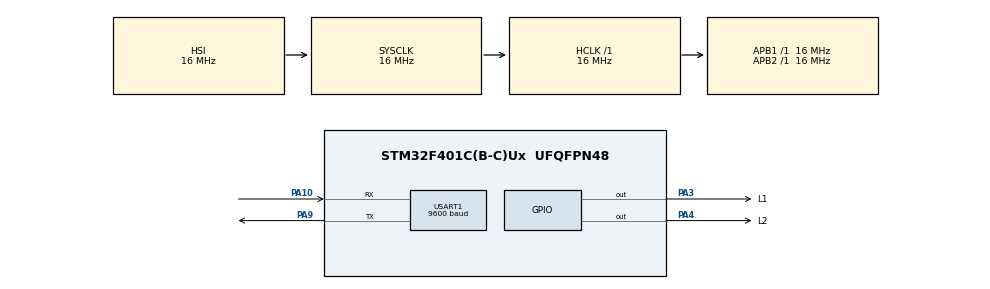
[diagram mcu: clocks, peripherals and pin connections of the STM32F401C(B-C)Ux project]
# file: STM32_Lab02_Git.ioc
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Mcu.Family=STM32F4
Mcu.Name=STM32F401C(B-C)Ux
Mcu.Package=UFQFPN48
NVIC.PriorityGroup=NVIC_PRIORITYGROUP_4
NVIC.USART1_IRQn=true\:0\:0\:false\:true\:true\:1\:true\:true\:true
PA10.Mode=Asynchronous
PA10.Signal=USART1_RX
PA13.Mode=Trace_Asynchronous_SW
PA13.Signal=SYS_JTMS-SWDIO
PA14.Mode=Trace_Asynchronous_SW
PA14.Signal=SYS_JTCK-SWCLK
PA3.GPIO_Label=L1
PA3.Signal=GPIO_Output
PA4.GPIO_Label=L2
PA4.Signal=GPIO_Output
PA9.Mode=Asynchronous
PA9.Signal=USART1_TX
PB3.Mode=Trace_Asynchronous_SW
PB3.Signal=SYS_JTDO-SWO
ProjectManager.HeapSize=0x200
ProjectManager.StackSize=0x400
ProjectManager.TargetToolchain=STM32CubeIDE
RCC.AHBFreq_Value=16000000
RCC.APB1Freq_Value=16000000
RCC.APB2Freq_Value=16000000
RCC.CortexFreq_Value=16000000
RCC.HSE_VALUE=25000000
RCC.HSI_VALUE=16000000
RCC.LSE_VALUE=32768
RCC.SYSCLKFreq_VALUE=16000000
RCC.VCOOutputFreq_Value=192000000
USART1.BaudRate=9600
USART1.VirtualMode=VM_ASYNC
board=custom

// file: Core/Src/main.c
/* USER CODE BEGIN Header */
/**
  ******************************************************************************
  * @file           : main.c
  * @brief          : Main program body
  ******************************************************************************
  * @attention
  *
  * Copyright (c) 2023 STMicroelectronics.
  * All rights reserved.
  *
  * This software is licensed under terms that can be found in the LICENSE file
  * in the root directory of this software component.
  * If no LICENSE file comes with this software, it is provided AS-IS.
  *
  ******************************************************************************
  */
/* USER CODE END Header */
#include "main.h"

/* USER CODE BEGIN Includes */
#include "ringbuffer.h"
/* USER CODE END Includes */

UART_HandleTypeDef huart1;

/* USER CODE BEGIN PV */
uint8_t rx[1] = {'\0'};
uint8_t tx[1] = {'\0'};
uint8_t flag = 0;
RingBuffer ringbuf;

uint8_t BufferRx[255];
uint8_t BufferTx[255];

volatile uint16_t lenRx;
volatile uint16_t lenTx;
/* USER CODE END PV */

void SystemClock_Config(void);
static void MX_GPIO_Init(void);
static void MX_USART1_UART_Init(void);
static void MX_NVIC_Init(void);

int main(void)
{

  /* MCU Configuration--------------------------------------------------------*/

  /* Reset of all peripherals, Initializes the Flash interface and the Systick. */
  HAL_Init();

  /* Configure the system clock */
  SystemClock_Config();

  /* Initialize all configured peripherals */
  MX_GPIO_Init();
  MX_USART1_UART_Init();

  /* Initialize interrupts */
  MX_NVIC_Init();

  /* Infinite loop */
  /* USER CODE BEGIN WHILE */
  HAL_GPIO_TogglePin(L2_GPIO_Port, L2_Pin);
  HAL_UART_Transmit_IT(&huart1, (uint8_t*)"Console 1 \r\n", sizeof("Console 1 \r\n"));
  HAL_GPIO_TogglePin(L2_GPIO_Port, L1_Pin);
  while (1)
  {
    /* USER CODE END WHILE */

  }
}

void SystemClock_Config(void)
{
  RCC_OscInitTypeDef RCC_OscInitStruct = {0};
  RCC_ClkInitTypeDef RCC_ClkInitStruct = {0};

  /** Configure the main internal regulator output voltage
  */
  __HAL_RCC_PWR_CLK_ENABLE();
  __HAL_PWR_VOLTAGESCALING_CONFIG(PWR_REGULATOR_VOLTAGE_SCALE2);

  /** Initializes the RCC Oscillators according to the specified parameters
  * in the RCC_OscInitTypeDef structure.
  */
  RCC_OscInitStruct.OscillatorType = RCC_OSCILLATORTYPE_HSI;
  RCC_OscInitStruct.HSIState = RCC_HSI_ON;
  RCC_OscInitStruct.HSICalibrationValue = RCC_HSICALIBRATION_DEFAULT;
  RCC_OscInitStruct.PLL.PLLState = RCC_PLL_NONE;
  if (HAL_RCC_OscConfig(&RCC_OscInitStruct) != HAL_OK)
  {
    Error_Handler();
  }

  /** Initializes the CPU, AHB and APB buses clocks
  */
  RCC_ClkInitStruct.ClockType = RCC_CLOCKTYPE_HCLK|RCC_CLOCKTYPE_SYSCLK
                              |RCC_CLOCKTYPE_PCLK1|RCC_CLOCKTYPE_PCLK2;
  RCC_ClkInitStruct.SYSCLKSource = RCC_SYSCLKSOURCE_HSI;
  RCC_ClkInitStruct.AHBCLKDivider = RCC_SYSCLK_DIV1;
  RCC_ClkInitStruct.APB1CLKDivider = RCC_HCLK_DIV1;
  RCC_ClkInitStruct.APB2CLKDivider = RCC_HCLK_DIV1;

  if (HAL_RCC_ClockConfig(&RCC_ClkInitStruct, FLASH_LATENCY_0) != HAL_OK)
  {
    Error_Handler();
  }
}

/**
  * @brief NVIC Configuration.
  * @retval None
  */
static void MX_NVIC_Init(void)
{
  /* USART1_IRQn interrupt configuration */
  HAL_NVIC_SetPriority(USART1_IRQn, 0, 0);
  HAL_NVIC_EnableIRQ(USART1_IRQn);
}

static void MX_USART1_UART_Init(void)
{

  huart1.Instance = USART1;
  huart1.Init.BaudRate = 9600;
  huart1.Init.WordLength = UART_WORDLENGTH_8B;
  huart1.Init.StopBits = UART_STOPBITS_1;
  huart1.Init.Parity = UART_PARITY_NONE;
  huart1.Init.Mode = UART_MODE_TX_RX;
  huart1.Init.HwFlowCtl = UART_HWCONTROL_NONE;
  huart1.Init.OverSampling = UART_OVERSAMPLING_16;
  if (HAL_UART_Init(&huart1) != HAL_OK)
  {
    Error_Handler();
  }

}

static void MX_GPIO_Init(void)
{
  GPIO_InitTypeDef GPIO_InitStruct = {0};

  /* GPIO Ports Clock Enable */
  __HAL_RCC_GPIOA_CLK_ENABLE();
  __HAL_RCC_GPIOB_CLK_ENABLE();

  /*Configure GPIO pin Output Level */
  HAL_GPIO_WritePin(GPIOA, L1_Pin|L2_Pin, GPIO_PIN_RESET);

  /*Configure GPIO pins : L1_Pin L2_Pin */
  GPIO_InitStruct.Pin = L1_Pin|L2_Pin;
  GPIO_InitStruct.Mode = GPIO_MODE_OUTPUT_PP;
  GPIO_InitStruct.Pull = GPIO_NOPULL;
  GPIO_InitStruct.Speed = GPIO_SPEED_FREQ_LOW;
  HAL_GPIO_Init(GPIOA, &GPIO_InitStruct);

}

/* USER CODE BEGIN 4 */
void HAL_UART_TxCpltCallback(UART_HandleTypeDef *huart) {
	if(huart == &huart1) {
		if(RingBuffer_GetDataLength(&ringbuf) > 0) {
			lenTx = RingBuffer_GetDataLength(&ringbuf);
			RingBuffer_Read(&ringbuf, BufferTx, lenTx);
			HAL_UART_Transmit_IT(&huart1, BufferTx, lenTx);
		} else if(flag == 0) {
			flag = 1;
			HAL_UART_Transmit_IT(&huart1, (uint8_t*)"\n\r", sizeof("\n\r"));
		} else if(flag == 1) {
			flag = 0;
			HAL_UART_Receive_IT(&huart1, rx, sizeof(rx));
		}
		HAL_GPIO_TogglePin(L1_GPIO_Port, L1_Pin);
	}
}
void HAL_UART_RxCpltCallback(UART_HandleTypeDef *huart) {
	if(huart == &huart1) {
		if(rx[0] == '\r') {
			lenRx = RingBuffer_GetDataLength(&ringbuf);
			RingBuffer_Read(&ringbuf, BufferRx, lenRx);
			HAL_UART_Transmit_IT(&huart1, BufferRx, lenRx);
		} else {
			RingBuffer_Write(&ringbuf, rx, sizeof(rx));
			HAL_UART_Receive_IT(&huart1, rx, sizeof(rx));
		}
		HAL_GPIO_TogglePin(L2_GPIO_Port, L2_Pin);
	}
}
/* USER CODE END 4 */

void Error_Handler(void)
{
  __disable_irq();
  while (1)
  {
  }
}
